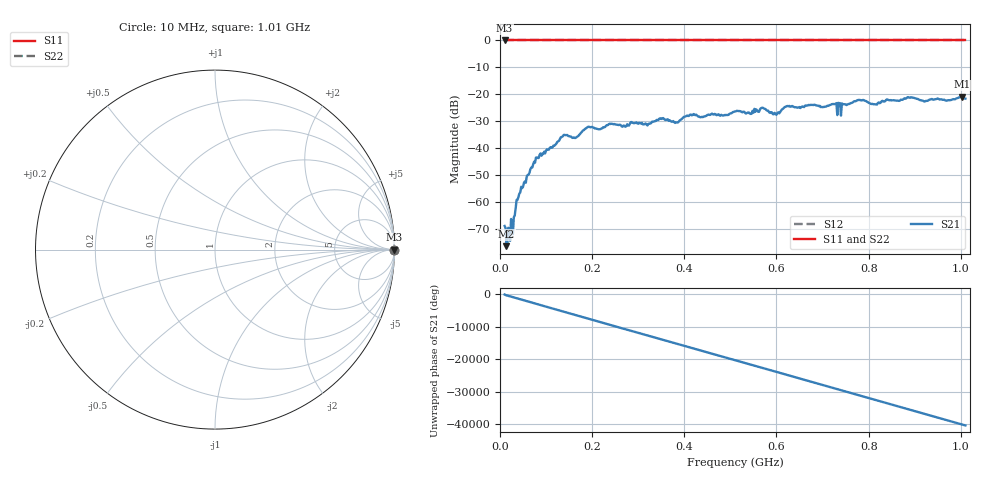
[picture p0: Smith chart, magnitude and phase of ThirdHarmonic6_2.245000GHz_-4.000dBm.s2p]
! 8/17/2025 2:39:19 AM
! C:\ANRITSUVNA\TEMP\TEMP.S2P
! CHANNEL.1
! TR.MEASUREMENT
! RAW.DATA
! RF.CORRECTION.OFF
! AVERAGING.OFF
! IF.BANDWIDTH: 5KHZ
! SWEEPTYPE:  FREQ.SWEEP(Linear)
! Reference Plane Port Info
! PORT:  PORT1  PORT2
! DISTANCE:  0  m  0  m
! TIME:  0  s  0  s
! PHASE.OFFSET:  0  deg.  0  deg.
! LOSS:  0  dB  0  dB
! REF.LOSS:  0  dB  0  dB
! REF.FREQ:  0  Hz  0  Hz
! Power Info
! POWER:  -20  dBm  -20  dBm
! EFF.POWER:  -20  dBm  -20  dBm
! SOURCE.ATTEN:  0  dB  0  dB
! TEST.ATTEN:  0  dB  0  dB
# GHZ S RI R 50.0
! FREQ.GHZ  S11RE  S11IM  S21RE  S21IM  S12RE  S12IM  S22RE  S22IM
!; PortSelection: Port_12
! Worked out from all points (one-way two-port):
!   501 points, 10 MHz to 1.01 GHz, reference 50 ohm
!   highest |S21| = -20.88 dB at 1.002 GHz (marker M1); lowest = -76.3 dB at 14 MHz (marker M2)
!   lowest |S11| = 0.0 dB at 10 MHz (marker M3)
!   |S11| at or under -10 dB: nowhere
!   |S22| runs from 0.0 to 0.0 dB; largest |S21 - S12| = 1.1
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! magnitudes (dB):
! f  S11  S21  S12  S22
! 10 MHz  0.0  -68.8  0.0  0.0
! 14 MHz  0.0  -76.3  0.0  0.0
! 18 MHz  0.0  -69.4  0.0  0.0
! 42 MHz  0.0  -56.7  0.0  0.0
! 76 MHz  0.0  -45.4  0.0  0.0
! 136 MHz  0.0  -35.6  0.0  0.0
! 162 MHz  0.0  -36.2  0.0  0.0
! 178 MHz  0.0  -33.8  0.0  0.0
! 344 MHz  0.0  -29.5  0.0  0.0
! 382 MHz  0.0  -30.3  0.0  0.0
! 416 MHz  0.0  -27.8  0.0  0.0
! 510 MHz  0.0  -26.3  0.0  0.0
! 570 MHz  0.0  -24.9  0.0  0.0
! 596 MHz  0.0  -26.8  0.0  0.0
! 622 MHz  0.0  -24.4  0.0  0.0
! 678 MHz  0.0  -23.9  0.0  0.0
! 736 MHz  0.0  -23.2  0.0  0.0
! 778 MHz  0.0  -22.1  0.0  0.0
! 814 MHz  0.0  -23.7  0.0  0.0
! 844 MHz  0.0  -22.1  0.0  0.0
! 1.002 GHz  0.0  -20.9  0.0  0.0
! 1.01 GHz  0.0  -21.6  0.0  0.0
